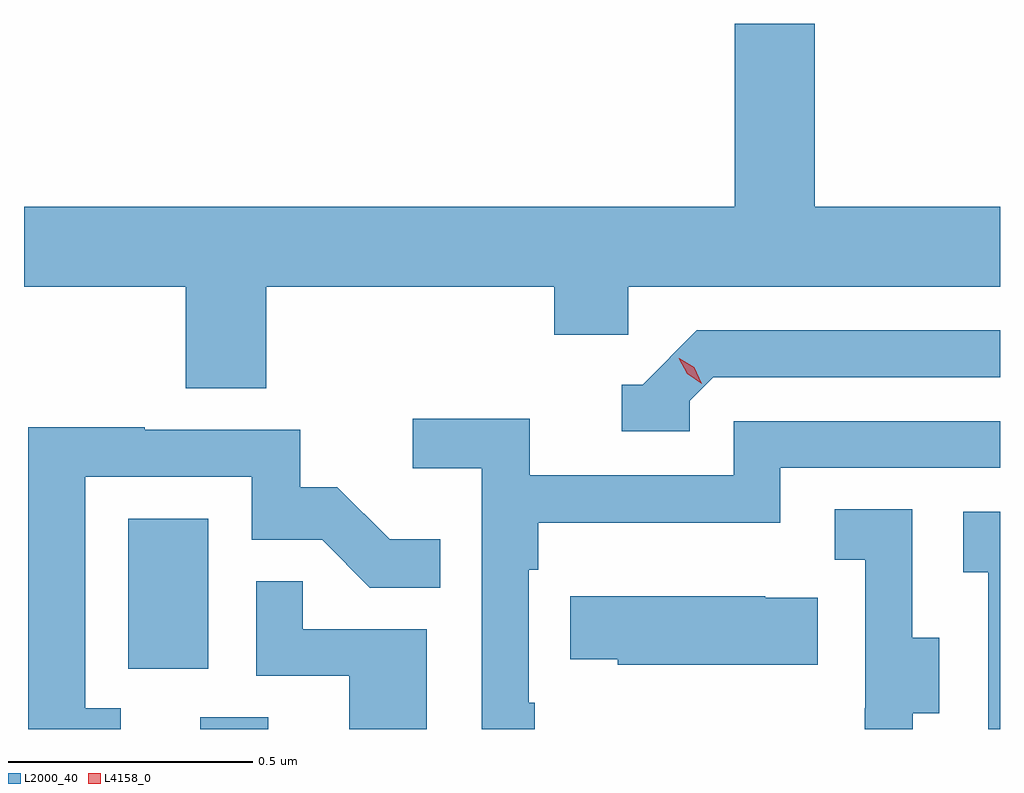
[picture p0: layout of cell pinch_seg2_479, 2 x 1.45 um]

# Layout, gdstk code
import gdstk
lib = gdstk.Library(unit=1e-6, precision=1e-09)
def R(c, l, rs):  # rectangles x0, y0, x1, y1
    for r in rs: c.add(gdstk.rectangle(r[:2], r[2:], *l))
def P(c, l, *ps):  # polygons
    for p in ps: c.add(gdstk.Polygon(p, *l))
L2000_40 = (2000, 40)
L4158_0 = (4158, 0)

pinch_seg2_479 = lib.new_cell('pinch_seg2_479')
R(pinch_seg2_479, L2000_40, [(931.145,590.786,931.285,590.81), (930.998,590.91,931.162,591.217)])
P(pinch_seg2_479, L2000_40, [(931.28,591.692),(931.871,591.692),(931.871,591.594),(932.022,591.594),(932.022,591.692),(932.784,591.692),(932.784,591.856),(932.404,591.856),(932.404,592.231),(932.24,592.231),(932.24,591.856),(930.784,591.856),(930.784,591.692),(931.115,591.692),(931.115,591.484),(931.28,591.484)],
  [(932.148,591.459),(932.196,591.507),(932.784,591.507),(932.784,591.603),(932.163,591.603),(932.052,591.492),(932.009,591.492),(932.009,591.396),(932.148,591.396)],
  [(931.831,590.84),(931.818,590.84),(931.818,591.113),(931.838,591.113),(931.838,591.209),(932.334,591.209),(932.334,591.321),(932.784,591.321),(932.784,591.417),(932.238,591.417),(932.238,591.306),(931.82,591.306),(931.82,591.422),(931.581,591.422),(931.581,591.32),(931.722,591.32),(931.722,590.786),(931.831,590.786)],
  [(930.982,590.829),(930.909,590.829),(930.909,591.303),(931.251,591.303),(931.251,591.174),(931.395,591.174),(931.493,591.076),(931.637,591.076),(931.637,591.175),(931.533,591.175),(931.426,591.282),(931.35,591.282),(931.35,591.399),(931.031,591.399),(931.031,591.404),(930.793,591.404),(930.793,590.786),(930.982,590.786)],
  [(932.605,590.818),(932.659,590.818),(932.659,590.973),(932.604,590.973),(932.604,591.236),(932.445,591.236),(932.445,591.133),(932.508,591.133),(932.508,590.829),(932.507,590.829),(932.507,590.786),(932.605,590.786)],
  [(932.784,591.231),(932.709,591.231),(932.709,591.107),(932.76,591.107),(932.76,590.786),(932.784,590.786)],
  [(931.609,590.991),(931.355,590.991),(931.355,591.089),(931.26,591.089),(931.26,590.895),(931.451,590.895),(931.451,590.786),(931.609,590.786)],
  [(932.411,591.055),(932.303,591.055),(932.303,591.058),(931.903,591.058),(931.903,590.929),(932.001,590.929),(932.001,590.918),(932.411,590.918)])
P(pinch_seg2_479, L4158_0, [(932.173,591.494),(932.143,591.514),(932.126,591.546),(932.126,591.546),(932.127,591.546),(932.157,591.527),(932.173,591.494),(932.173,591.494)])

lib.write_gds('pinch_seg2_479.gds')
